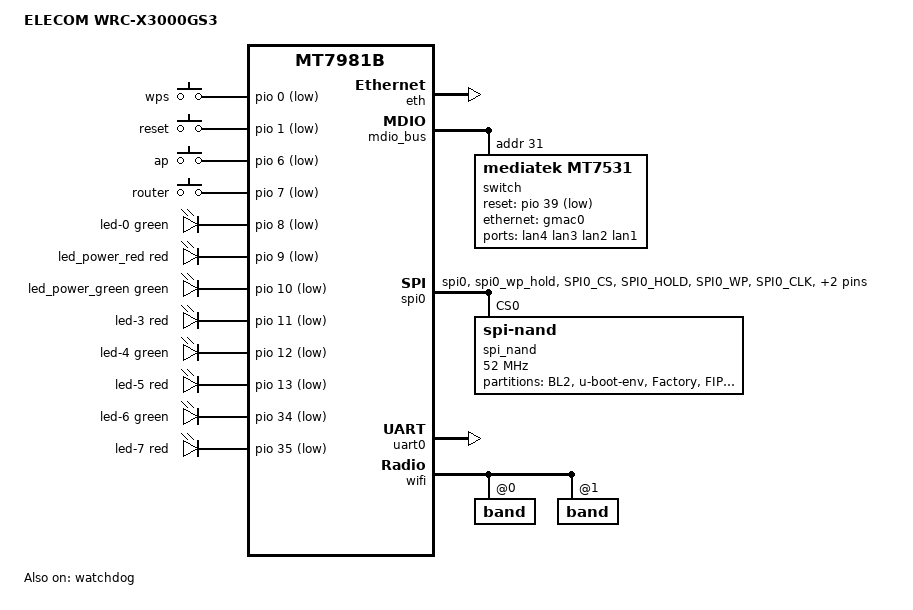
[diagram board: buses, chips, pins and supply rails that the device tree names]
// SPDX-License-Identifier: GPL-2.0-or-later OR MIT

/dts-v1/;

#include "mt7981b.dtsi"

/ {
	model = "ELECOM WRC-X3000GS3";
	compatible = "elecom,wrc-x3000gs3", "mediatek,mt7981b";

	aliases {
		label-mac-device = &gmac1;
		led-boot = &led_power_green;
		led-failsafe = &led_power_red;
		led-running = &led_power_green;
		led-upgrade = &led_power_green;
		serial0 = &uart0;
	};

	chosen {
		stdout-path = "serial0:115200n8";
	};

	keys {
		compatible = "gpio-keys";

		button-wps {
			label = "wps";
			gpios = <&pio 0 GPIO_ACTIVE_LOW>;
			linux,code = <KEY_WPS_BUTTON>;
		};

		button-reset {
			label = "reset";
			gpios = <&pio 1 GPIO_ACTIVE_LOW>;
			linux,code = <KEY_RESTART>;
		};

		switch-ap {
			label = "ap";
			gpios = <&pio 6 GPIO_ACTIVE_LOW>;
			linux,code = <BTN_0>;
		};

		switch-router {
			label = "router";
			gpios = <&pio 7 GPIO_ACTIVE_LOW>;
			linux,code = <BTN_1>;
		};
	};

	leds {
		compatible = "gpio-leds";

		led-0 {
			function = LED_FUNCTION_WAN;
			color = <LED_COLOR_ID_GREEN>;
			gpios = <&pio 8 GPIO_ACTIVE_LOW>;
		};

		led_power_red: led-1 {
			function = LED_FUNCTION_POWER;
			color = <LED_COLOR_ID_RED>;
			gpios = <&pio 9 GPIO_ACTIVE_LOW>;
		};

		led_power_green: led-2 {
			function = LED_FUNCTION_POWER;
			color = <LED_COLOR_ID_GREEN>;
			gpios = <&pio 10 GPIO_ACTIVE_LOW>;
		};

		led-3 {
			function = LED_FUNCTION_WLAN_2GHZ;
			color = <LED_COLOR_ID_RED>;
			gpios = <&pio 11 GPIO_ACTIVE_LOW>;
		};

		led-4 {
			function = LED_FUNCTION_WLAN_2GHZ;
			color = <LED_COLOR_ID_GREEN>;
			gpios = <&pio 12 GPIO_ACTIVE_LOW>;
			linux,default-trigger = "phy0tpt";
		};

		led-5 {
			function = LED_FUNCTION_WPS;
			color = <LED_COLOR_ID_RED>;
			gpios = <&pio 13 GPIO_ACTIVE_LOW>;
		};

		led-6 {
			function = LED_FUNCTION_WLAN_5GHZ;
			color = <LED_COLOR_ID_GREEN>;
			gpios = <&pio 34 GPIO_ACTIVE_LOW>;
			linux,default-trigger = "phy1tpt";
		};

		led-7 {
			function = LED_FUNCTION_WLAN_5GHZ;
			color = <LED_COLOR_ID_RED>;
			gpios = <&pio 35 GPIO_ACTIVE_LOW>;
		};
	};
};

&eth {
	pinctrl-0 = <&mdio_pins>;
	pinctrl-names = "default";
	status = "okay";
	#address-cells = <1>;
	#size-cells = <0>;

	gmac0: mac@0 {
		compatible = "mediatek,eth-mac";
		reg = <0>;
		phy-connection-type = "2500base-x";

		nvmem-cells = <&macaddr_factory_2a>;
		nvmem-cell-names = "mac-address";

		fixed-link {
			speed = <2500>;
			full-duplex;
			pause;
		};
	};

	gmac1: mac@1 {
		compatible = "mediatek,eth-mac";
		reg = <1>;
		label = "wan";
		phy-connection-type = "gmii";
		phy-handle = <&int_gbe_phy>;

		nvmem-cells = <&macaddr_factory_24>;
		nvmem-cell-names = "mac-address";
	};
};

&mdio_bus {
	switch@1f {
		compatible = "mediatek,mt7531";
		reg = <31>;
		reset-gpios = <&pio 39 GPIO_ACTIVE_LOW>;

		ports {
			#address-cells = <1>;
			#size-cells = <0>;

			port@1 {
				reg = <1>;
				label = "lan4";
			};

			port@2 {
				reg = <2>;
				label = "lan3";
			};

			port@3 {
				reg = <3>;
				label = "lan2";
			};

			port@4 {
				reg = <4>;
				label = "lan1";
			};

			port@6 {
				reg = <6>;
				ethernet = <&gmac0>;
				phy-connection-type = "2500base-x";

				fixed-link {
					speed = <2500>;
					full-duplex;
					pause;
				};
			};
		};
	};
};

&pio {
	spi0_flash_pins: spi0-pins {
		mux {
			function = "spi";
			groups = "spi0", "spi0_wp_hold";
		};

		conf-pu {
			pins = "SPI0_CS", "SPI0_HOLD", "SPI0_WP";
			drive-strength = <MTK_DRIVE_8mA>;
			bias-pull-up = <MTK_PUPD_SET_R1R0_11>;
		};

		conf-pd {
			pins = "SPI0_CLK", "SPI0_MOSI", "SPI0_MISO";
			drive-strength = <MTK_DRIVE_8mA>;
			bias-pull-down = <MTK_PUPD_SET_R1R0_11>;
		};
	};
};

&spi0 {
	pinctrl-0 = <&spi0_flash_pins>;
	pinctrl-names = "default";
	status = "okay";

	spi_nand: spi_nand@0 {
		compatible = "spi-nand";
		reg = <0>;
		#address-cells = <1>;
		#size-cells = <1>;

		spi-max-frequency = <52000000>;
		spi-tx-bus-width = <4>;
		spi-rx-bus-width = <4>;

		mediatek,nmbm;
		mediatek,bmt-max-ratio = <1>;
		mediatek,bmt-max-reserved-blocks = <64>;
		mediatek,bmt-remap-range =
			<0x0000000 0x5a0000>, /*     BL2 - Fwheader  (5.625 MiB) */
			<0x37a0000 0x3a0000>, /*  Config - Fwheader2 (3.625 MiB) */
			<0x6d40000 0x840000>; /* Config2 - Backup    (8.25 MiB) */

		partitions {
			compatible = "fixed-partitions";
			#address-cells = <1>;
			#size-cells = <1>;

			partition@0 {
				label = "BL2";
				reg = <0x0 0x100000>;
				read-only;
			};

			partition@100000 {
				label = "u-boot-env";
				reg = <0x100000 0x80000>;
			};

			partition@180000 {
				label = "Factory";
				reg = <0x180000 0x200000>;
				read-only;

				nvmem-layout {
					compatible = "fixed-layout";
					#address-cells = <1>;
					#size-cells = <1>;

					eeprom_factory_0: eeprom@0 {
						reg = <0x0 0x1000>;
					};

					macaddr_factory_4: mac-address@4 {
						reg = <0x4 0x6>;
					};

					macaddr_factory_a: mac-address@a {
						reg = <0xa 0x6>;
					};

					macaddr_factory_24: mac-address@24 {
						reg = <0x24 0x6>;
					};

					macaddr_factory_2a: mac-address@2a {
						reg = <0x2a 0x6>;
					};
				};
			};

			partition@380000 {
				label = "FIP";
				reg = <0x380000 0x200000>;
				read-only;
			};

			partition@580000 {
				label = "Fwheader";
				reg = <0x580000 0x20000>;
				read-only;
			};

			/* stock: "ubi" */
			partition@5a0000 {
				compatible = "mstc,boot";
				label = "firmware1";
				reg = <0x5a0000 0x3200000>;
				mstc,bootnum = <1>;
				mstc,persist = <&mtd_persist>;
				#address-cells = <1>;
				#size-cells = <1>;

				partition@0 {
					label-base = "ubi";
					reg = <0x0 0x3200000>;
				};
			};

			partition@37a0000 {
				label = "Config";
				reg = <0x37a0000 0x380000>;
				read-only;
			};

			partition@3b20000 {
				label = "Fwheader_2";
				reg = <0x3b20000 0x20000>;
				read-only;
			};

			/* stock: "ubi_2" */
			partition@3b40000 {
				compatible = "mstc,boot";
				label = "firmware2";
				reg = <0x3b40000 0x3200000>;
				mstc,bootnum = <2>;
				mstc,persist = <&mtd_persist>;
				#address-cells = <1>;
				#size-cells = <1>;

				partition@0 {
					label-base = "ubi";
					reg = <0x0 0x3200000>;
				};
			};

			partition@6d40000 {
				label = "Config_2";
				reg = <0x6d40000 0x380000>;
				read-only;
			};

			mtd_persist: partition@70c0000 {
				label = "persist";
				reg = <0x70c0000 0x100000>;
			};

			partition@71c0000 {
				label = "Mrd";
				reg = <0x71c0000 0x40000>;
				read-only;
			};

			partition@7200000 {
				label = "Backup";
				reg = <0x7200000 0x380000>;
				read-only;
			};
		};
	};
};

&uart0 {
	status = "okay";
};

&watchdog {
	status = "okay";
};

&wifi {
	nvmem-cells = <&eeprom_factory_0>;
	nvmem-cell-names = "eeprom";
	status = "okay";
	#address-cells = <1>;
	#size-cells = <0>;

	band@0 {
		reg = <0>;
		nvmem-cells = <&macaddr_factory_4>;
		nvmem-cell-names = "mac-address";
	};

	band@1 {
		reg = <1>;
		nvmem-cells = <&macaddr_factory_a>;
		nvmem-cell-names = "mac-address";
	};
};
